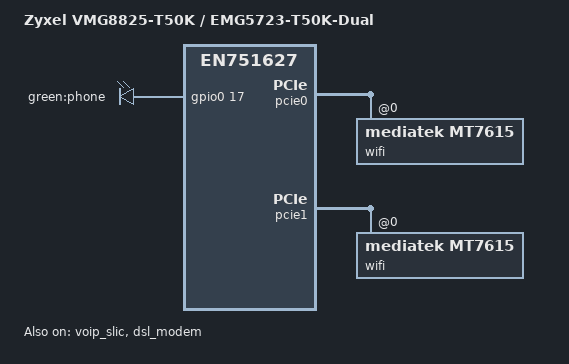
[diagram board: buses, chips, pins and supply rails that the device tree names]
// SPDX-License-Identifier: (GPL-2.0-only OR BSD-2-Clause)
/*
 * Copyright (C) 2026 Alan <alan@Riffraff>
 * Copyright (C) 2026 OpenWrt.org
 *
 * ============================================================================
 * LEAF NODE PROFILE: ZYXEL VMG8825-T50K INTEGRATED ACCESS DEVICE
 * ============================================================================
 * Series Inheritance: T50 Wi-Fi 5 Core Series (Preserves 1x USB 3.0 + 1x USB 2.0)
 * RAM Configuration: 512MB High-Capacity Allocation
 * Fleet Relationship Matrix:
 *  - vs VMG3927: VMG8825 incorporates twin Voice FXS SLICs and matching Phone LED indicator.
 *  - vs EMG5723: VMG8825 restores secondary physical USB 2.0 port and activates VDSL2 modem.
 */

/dts-v1/;
#include "en751627_zyxel_T50_series.dtsi"

/ {
	model = "Zyxel VMG8825-T50K / EMG5723-T50K-Dual";
	compatible = "zyxel,vmg8825-t50k", "econet,en751627";

	leds {
		led_phone_green: phone_green {
			label = "green:phone";
			gpios = <&gpio0 17 GPIO_ACTIVE_HIGH>;
		};
	};
};

&voip_slic {
	status = "okay"; /* Activate the open-ended VoIP SLIC driver hook */
};

&dsl_modem {
	status = "okay"; /* Activate the open-ended VDSL copper modem engine loop */
};

&pcie0 {
        status = "okay";

        pcie-bridge {
                #address-cells = <3>;
                #size-cells = <2>;
                device_type = "pci";

                wifi@0,0 {
                        compatible = "mediatek,mt7615";
                        reg = <0x0000 0 0 0 0>;
                        mediatek,mtd-eeprom = <&nand 0x040000>;
                };
        };
};

&pcie1 {
        status = "okay";

        pcie-bridge {
                #address-cells = <3>;
                #size-cells = <2>;
                device_type = "pci";

                wifi@0,0 {
                        compatible = "mediatek,mt7615";
                        reg = <0x0000 0 0 0 0>;
                        /* Points to the secondary radio calibration data segment */
                        mediatek,mtd-eeprom = <&nand 0x048000>;
                };
        };
};
